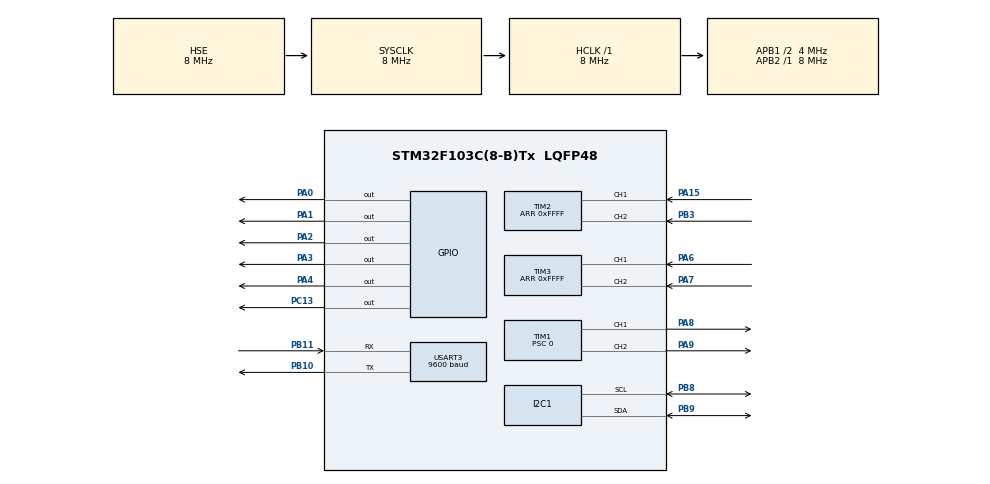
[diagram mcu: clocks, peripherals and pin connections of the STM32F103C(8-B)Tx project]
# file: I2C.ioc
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I2C1.I2C_Mode=I2C_Standard
Mcu.Family=STM32F1
Mcu.Name=STM32F103C(8-B)Tx
Mcu.Package=LQFP48
NVIC.I2C1_ER_IRQn=true\:0\:0\:true\:false\:true\:true\:true
NVIC.I2C1_EV_IRQn=true\:0\:0\:true\:false\:true\:true\:true
NVIC.PriorityGroup=NVIC_PRIORITYGROUP_4
NVIC.TIM2_IRQn=true\:0\:0\:true\:false\:true\:true\:true
NVIC.TIM3_IRQn=true\:0\:0\:true\:false\:true\:true\:true
NVIC.TIM4_IRQn=true\:0\:0\:true\:false\:true\:true\:true
NVIC.USART3_IRQn=true\:0\:0\:false\:false\:true\:true\:true
PA0-WKUP.GPIO_PuPd=GPIO_NOPULL
PA0-WKUP.GPIO_Speed=GPIO_SPEED_FREQ_LOW
PA0-WKUP.PinState=GPIO_PIN_RESET
PA0-WKUP.Signal=GPIO_Output
PA1.GPIO_PuPd=GPIO_NOPULL
PA1.GPIO_Speed=GPIO_SPEED_FREQ_LOW
PA1.PinState=GPIO_PIN_RESET
PA1.Signal=GPIO_Output
PA13.Mode=Serial_Wire
PA13.Signal=SYS_JTMS-SWDIO
PA14.Mode=Serial_Wire
PA14.Signal=SYS_JTCK-SWCLK
PA15.GPIO_PuPd=GPIO_PULLUP
PA15.Signal=S_TIM2_CH1_ETR
PA2.GPIO_PuPd=GPIO_NOPULL
PA2.GPIO_Speed=GPIO_SPEED_FREQ_LOW
PA2.PinState=GPIO_PIN_RESET
PA2.Signal=GPIO_Output
PA3.GPIO_PuPd=GPIO_NOPULL
PA3.GPIO_Speed=GPIO_SPEED_FREQ_LOW
PA3.PinState=GPIO_PIN_RESET
PA3.Signal=GPIO_Output
PA4.Signal=GPIO_Output
PA6.GPIO_PuPd=GPIO_PULLUP
PA6.Signal=S_TIM3_CH1
PA7.GPIO_PuPd=GPIO_PULLUP
PA7.Signal=S_TIM3_CH2
PA8.GPIO_Speed=GPIO_SPEED_FREQ_LOW
PA8.Signal=S_TIM1_CH1
PA9.GPIO_Speed=GPIO_SPEED_FREQ_LOW
PA9.Signal=S_TIM1_CH2
PB10.Mode=Asynchronous
PB10.Signal=USART3_TX
PB11.Mode=Asynchronous
PB11.Signal=USART3_RX
PB3.GPIO_PuPd=GPIO_PULLUP
PB3.Signal=S_TIM2_CH2
PB8.Mode=I2C
PB8.Signal=I2C1_SCL
PB9.Mode=I2C
PB9.Signal=I2C1_SDA
PC13-TAMPER-RTC.Signal=GPIO_Output
PD0-OSC_IN.Mode=HSE-External-Oscillator
PD0-OSC_IN.Signal=RCC_OSC_IN
PD1-OSC_OUT.Mode=HSE-External-Oscillator
PD1-OSC_OUT.Signal=RCC_OSC_OUT
ProjectManager.HeapSize=0x200
ProjectManager.StackSize=0x400
ProjectManager.TargetToolchain=MDK-ARM V5
RCC.AHBFreq_Value=8000000
RCC.APB1CLKDivider=RCC_HCLK_DIV2
RCC.APB1Freq_Value=4000000
RCC.APB1TimFreq_Value=8000000
RCC.APB2Freq_Value=8000000
RCC.APB2TimFreq_Value=8000000
RCC.HCLKFreq_Value=8000000
RCC.PLLMUL=RCC_PLL_MUL9
RCC.PLLSourceVirtual=RCC_PLLSOURCE_HSE
RCC.SYSCLKFreq_VALUE=8000000
RCC.SYSCLKSource=RCC_SYSCLKSOURCE_HSE
RCC.USBFreq_Value=72000000
SH.S_TIM1_CH1.0=TIM1_CH1,PWM Generation1 CH1
SH.S_TIM1_CH2.0=TIM1_CH2,PWM Generation2 CH2
SH.S_TIM2_CH1_ETR.0=TIM2_CH1,Encoder_Interface
SH.S_TIM2_CH2.0=TIM2_CH2,Encoder_Interface
SH.S_TIM3_CH1.0=TIM3_CH1,Encoder_Interface
SH.S_TIM3_CH2.0=TIM3_CH2,Encoder_Interface
TIM1.Channel-PWM\ Generation1\ CH1=TIM_CHANNEL_1
TIM1.Channel-PWM\ Generation2\ CH2=TIM_CHANNEL_2
TIM1.OCMode_PWM-PWM\ Generation2\ CH2=TIM_OCMODE_PWM1
TIM1.Period=255
TIM1.Prescaler=0
TIM1.Pulse-PWM\ Generation1\ CH1=0
TIM2.EncoderMode=TIM_ENCODERMODE_TI12
TIM2.Period=0xFFFF
TIM3.EncoderMode=TIM_ENCODERMODE_TI12
TIM3.Period=0xFFFF
TIM4.Period=10
TIM4.Prescaler=7999
USART3.BaudRate=9600
USART3.VirtualMode=VM_ASYNC
VP_TIM1_VS_ClockSourceINT.Mode=Internal
VP_TIM4_VS_ClockSourceINT.Mode=Internal
board=custom

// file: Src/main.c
/* USER CODE BEGIN Header */
/**
  ******************************************************************************
  * @file           : main.c
  * @brief          : Main program body
  ******************************************************************************
  * @attention
  *
  * <h2><center>&copy; Copyright (c) 2019 STMicroelectronics.
  * All rights reserved.</center></h2>
  *
  * This software component is licensed by ST under BSD 3-Clause license,
  * the "License"; You may not use this file except in compliance with the
  * License. You may obtain a copy of the License at:
  *                        opensource.org/licenses/BSD-3-Clause
  *
  ******************************************************************************
  */
/* USER CODE END Header */

#include "main.h"

/* USER CODE BEGIN Includes */
#include "stdio.h"
#include "math.h"
#include "sd_hal_mpu6050.h"
/* USER CODE END Includes */

/* USER CODE BEGIN PTD */
#define 	dt1  0.01
/* USER CODE END PTD */

/* USER CODE BEGIN PM */
void bias(void);
/* USER CODE END PM */

I2C_HandleTypeDef hi2c1;

TIM_HandleTypeDef htim1;
TIM_HandleTypeDef htim2;
TIM_HandleTypeDef htim3;
TIM_HandleTypeDef htim4;

UART_HandleTypeDef huart3;

/* USER CODE BEGIN PV */
/* Private variables ---------------------------------------------------------*/

uint16_t gx[20];
SD_MPU6050 mpu1;
float sum_gForcex = 0;
float sum_gForcey = 0;
float sum_gForcez = 0;
float gForcex = 0;
float gForcey = 0;
float gForcez = 0;
float ax_off = 0.0306123048;
float ay_off = -0.00247998047;
float az_off = 1.00272071;
float gx_off = 376.86;
float gy_off = 93.00;
float gz_off = -92.64;
float rotx = 0;
float roty = 0;
float rotz = 0;
float bias_rotx = 0;
float bias_roty = 0;
float bias_rotz = 0;
float angle_roll = 0;
float angle_pitch = 0;
float P_part1 ,I_part1,D_part1,Error,pre_Error,pre_pre_Error,Out1,pre_Out1;
float  P_part2 ,I_part2,D_part2,Out2,pre_Out2;
float  Kp1 = 34; //28 //30 //26
float  Ki1 = 440;//230//350//390
float  Kd1 = 1.182;//1.14//1.18//1.18
float maxPID = 255;
char receive_buff[30];
float setpoint = -2;
float vel2;
float vel;
float pitch;
float roll;
float g_x;
float g_y;
float g_z;
float a_x;
float a_y;
float a_z;
float left_PWM;
float right_PWM;
float vel_left;
float vel_right;
volatile short encoder_out_left =0,encoder_out_pre =0;
volatile short encoder_out_right=0;
/* USER CODE END PV */

void SystemClock_Config(void);
static void MX_GPIO_Init(void);
static void MX_I2C1_Init(void);
static void MX_TIM4_Init(void);
static void MX_TIM1_Init(void);
static void MX_USART3_UART_Init(void);
static void MX_TIM2_Init(void);
static void MX_TIM3_Init(void);

/* USER CODE BEGIN 0 */
void move(float motor,float dir)
	{
		 if(motor == 0)
      {
					if(dir == 0)
						{
								HAL_GPIO_WritePin(GPIOA,GPIO_PIN_0,GPIO_PIN_RESET);
								HAL_GPIO_WritePin(GPIOA,GPIO_PIN_1,GPIO_PIN_SET);
						}
					else
						{
								HAL_GPIO_WritePin(GPIOA,GPIO_PIN_0,GPIO_PIN_SET);
								HAL_GPIO_WritePin(GPIOA,GPIO_PIN_1,GPIO_PIN_RESET);
						}
			}
		 else if (motor == 1)
      {
					if(dir == 0)
						{
								HAL_GPIO_WritePin(GPIOA,GPIO_PIN_4,GPIO_PIN_RESET);
								HAL_GPIO_WritePin(GPIOA,GPIO_PIN_3,GPIO_PIN_SET);
						}
					else
						{
								HAL_GPIO_WritePin(GPIOA,GPIO_PIN_4,GPIO_PIN_SET);
								HAL_GPIO_WritePin(GPIOA,GPIO_PIN_3,GPIO_PIN_RESET);
						}
			 }
			else if (motor == 2)
				{
							HAL_GPIO_WritePin(GPIOA,GPIO_PIN_0,GPIO_PIN_RESET);
							HAL_GPIO_WritePin(GPIOA,GPIO_PIN_1,GPIO_PIN_RESET);
							HAL_GPIO_WritePin(GPIOA,GPIO_PIN_4,GPIO_PIN_RESET);
							HAL_GPIO_WritePin(GPIOA,GPIO_PIN_3,GPIO_PIN_RESET);
							__HAL_TIM_SET_COMPARE(&htim1,TIM_CHANNEL_1,0);
							__HAL_TIM_SET_COMPARE(&htim1,TIM_CHANNEL_2,0);
				}
	}
void PID(float setpoint,float angle_current)
	{

			if (angle_roll >-30 && angle_roll <30)
				{
//					if (receive_buff[0] == 'F')
//						{
//								setpoint = -3.5;
//								Error = setpoint - angle_current;
//								P_part1 = Kp1*(Error - pre_Error);
//								I_part1 = 0.5*Ki1*dt1*(Error + pre_Error);
//								D_part1= Kd1/dt1*( Error - 2*pre_Error+ pre_pre_Error);
//								Out1 = pre_Out1 + P_part1 + I_part1 + D_part1 ;
//								if (Out1 > maxPID) Out1 = maxPID;
//								else if (Out1 <-maxPID) Out1 = -maxPID;
//						if (Out1 >0)
//						{
//							move(0,1);
//							move(1,1);
//							vel= Out1;
//							if (vel >10 && vel <100 ) vel = 100;
//							vel_left = vel;
//							vel_right = vel;
//							__HAL_TIM_SET_COMPARE(&htim1,TIM_CHANNEL_1,vel_left);
//							__HAL_TIM_SET_COMPARE(&htim1,TIM_CHANNEL_2,vel_right);
//						}
//					else if (Out1<0)
//						{
//							move(0,0);
//							move(1,0);
//							vel= Out1;
//							if (vel >-70 && vel <-100 ) vel = - 100;
//							vel_left = vel;
//							vel_right = vel;
//							__HAL_TIM_SET_COMPARE(&htim1,TIM_CHANNEL_1,(vel_left*-1));
//							__HAL_TIM_SET_COMPARE(&htim1,TIM_CHANNEL_2,(vel_right*-1));
//						}
//					}
//				else if (receive_buff[0] =='B')
//					{
//							 setpoint = 2.5;
//								Error = setpoint - angle_current;
//								P_part1 = Kp1*(Error - pre_Error);
//								I_part1 = 0.5*Ki1*dt1*(Error + pre_Error);
//								D_part1= Kd1/dt1*( Error - 2*pre_Error+ pre_pre_Error);
//								Out1 = pre_Out1 + P_part1 + I_part1 + D_part1 ;
//								if (Out1 > maxPID) Out1 = maxPID;
//								else if (Out1 <-maxPID) Out1 = -maxPID;
//								if (Out1 >0)
//									{
//										move(0,1);
//										move(1,1);
//										vel= Out1;
//										if (vel >10 && vel <100 ) vel = 100;
//										vel_left = vel;
//										vel_right = vel;
//										__HAL_TIM_SET_COMPARE(&htim1,TIM_CHANNEL_1,vel_left);
//										__HAL_TIM_SET_COMPARE(&htim1,TIM_CHANNEL_2,vel_right);
//									}
//								else if (Out1<0)
//									{
//										move(0,0);
//										move(1,0);
//										vel= Out1;
//										if (vel >-70 && vel <-100 ) vel = - 100;
//										vel_left = vel;
//										vel_right = vel;
//										__HAL_TIM_SET_COMPARE(&htim1,TIM_CHANNEL_1,(vel_left*-1));
//										__HAL_TIM_SET_COMPARE(&htim1,TIM_CHANNEL_2,(vel_right*-1));
//									}
//						}
//				else if (receive_buff[0] == 'L')
//					{
//								setpoint = 0.5;
//								Error = setpoint - angle_current;
//								P_part1 = Kp1*(Error - pre_Error);
//								I_part1 = 0.5*Ki1*dt1*(Error + pre_Error);
//								D_part1= Kd1/dt1*( Error - 2*pre_Error+ pre_pre_Error);
//								Out1 = pre_Out1 + P_part1 + I_part1 + D_part1 ;
//								if (Out1 > maxPID) Out1 = maxPID;
//								else if (Out1 <-maxPID) Out1 = -maxPID;
//								if (Out1 >0)
//									{
//										HAL_GPIO_WritePin(GPIOA,GPIO_PIN_0,GPIO_PIN_SET);
//										HAL_GPIO_WritePin(GPIOA,GPIO_PIN_1,GPIO_PIN_RESET);
//										HAL_GPIO_WritePin(GPIOA,GPIO_PIN_4,GPIO_PIN_RESET);
//										HAL_GPIO_WritePin(GPIOA,GPIO_PIN_3,GPIO_PIN_SET);
//										vel= Out1;
//										if (vel >10 && vel <100 ) vel =100;
//										vel_left = vel;
//										vel_right = vel;
//										__HAL_TIM_SET_COMPARE(&htim1,TIM_CHANNEL_1,120);//vel_left-turnspeed
//										__HAL_TIM_SET_COMPARE(&htim1,TIM_CHANNEL_2,120);//vel_right+turnspeed
//									}
//								else if (Out1<0)
//									{
//										HAL_GPIO_WritePin(GPIOA,GPIO_PIN_0,GPIO_PIN_SET);
//										HAL_GPIO_WritePin(GPIOA,GPIO_PIN_1,GPIO_PIN_RESET);
//										HAL_GPIO_WritePin(GPIOA,GPIO_PIN_4,GPIO_PIN_RESET);
//										HAL_GPIO_WritePin(GPIOA,GPIO_PIN_3,GPIO_PIN_SET);
//										vel= Out1;
//										if (vel >-100 && vel <-10 ) vel = - 100;
//										vel_left = vel;
//										vel_right = vel;
//										__HAL_TIM_SET_COMPARE(&htim1,TIM_CHANNEL_1,120);//(vel_left*-1)-turnspeed
//										__HAL_TIM_SET_COMPARE(&htim1,TIM_CHANNEL_2,120);//(vel_right*-1)+turnspeed
//									}
//					}
//				else if (receive_buff[0] == 'R')
//					{
//								setpoint = 0.5;
//								Error = setpoint - angle_current;
//								P_part1 = Kp1*(Error - pre_Error);
//								I_part1 = 0.5*Ki1*dt1*(Error + pre_Error);
//								D_part1= Kd1/dt1*( Error - 2*pre_Error+ pre_pre_Error);
//								Out1 = pre_Out1 + P_part1 + I_part1 + D_part1 ;
//								if (Out1 > maxPID) Out1 = maxPID;
//								else if (Out1 <-maxPID) Out1 = -maxPID;
//								if (Out1 >0)
//									{
//										HAL_GPIO_WritePin(GPIOA,GPIO_PIN_0,GPIO_PIN_RESET);
//										HAL_GPIO_WritePin(GPIOA,GPIO_PIN_1,GPIO_PIN_SET);
//										HAL_GPIO_WritePin(GPIOA,GPIO_PIN_4,GPIO_PIN_SET);
//										HAL_GPIO_WritePin(GPIOA,GPIO_PIN_3,GPIO_PIN_RESET);
//										vel= Out1;
//										if (vel >10 && vel <100 ) vel = 100;
//										vel_left = vel;
//										vel_right = vel;
//										__HAL_TIM_SET_COMPARE(&htim1,TIM_CHANNEL_1,120);
//										__HAL_TIM_SET_COMPARE(&htim1,TIM_CHANNEL_2,120);
//									}
//								else if (Out1<0)
//									{
//										HAL_GPIO_WritePin(GPIOA,GPIO_PIN_0,GPIO_PIN_RESET);
//										HAL_GPIO_WritePin(GPIOA,GPIO_PIN_1,GPIO_PIN_SET);
//										HAL_GPIO_WritePin(GPIOA,GPIO_PIN_4,GPIO_PIN_SET);
//										HAL_GPIO_WritePin(GPIOA,GPIO_PIN_3,GPIO_PIN_RESET);
//										vel= Out1;
//										if (vel >-100 && vel <-10 ) vel = - 100;
//										vel_left = vel;
//										vel_right = vel;
//										__HAL_TIM_SET_COMPARE(&htim1,TIM_CHANNEL_1,120);
//										__HAL_TIM_SET_COMPARE(&htim1,TIM_CHANNEL_2,120);
//									}
//					}
//				else
//					{
								setpoint = -2;
								Error = setpoint - angle_current;
								P_part1 = Kp1*(Error - pre_Error);
								I_part1 = 0.5*Ki1*dt1*(Error + pre_Error);
								D_part1= Kd1/dt1*( Error - 2*pre_Error+ pre_pre_Error);
								Out1 = pre_Out1 + P_part1 + I_part1 + D_part1 ;
								if (Out1 > maxPID) Out1 = maxPID;
								else if (Out1 <-maxPID) Out1 = -maxPID;
								if (Out1 == 0)
									{
										__HAL_TIM_SET_COMPARE(&htim1,TIM_CHANNEL_1,0);
										__HAL_TIM_SET_COMPARE(&htim1,TIM_CHANNEL_2,0);
									}
								if (Out1 >0)
									{
										move(0,1);
										move(1,1);
										vel= Out1;
									if (vel >153  ) vel = 153;
										vel_left = vel;
										vel_right = vel;
										__HAL_TIM_SET_COMPARE(&htim1,TIM_CHANNEL_1,vel_left);
										__HAL_TIM_SET_COMPARE(&htim1,TIM_CHANNEL_2,vel_right);
									}
								else if (Out1<0)
									{
										move(0,0);
										move(1,0);
										vel= Out1;
										if ( vel <-153 ) vel = -153;
										vel_left = vel;
										vel_right = vel;
										__HAL_TIM_SET_COMPARE(&htim1,TIM_CHANNEL_1,(vel_left*-1));
										__HAL_TIM_SET_COMPARE(&htim1,TIM_CHANNEL_2,(vel_right*-1));
									}
					}

//			}
		else move(2,0);
 		pre_pre_Error = pre_Error;
    pre_Error = Error;
    pre_Out1 = Out1;
		pre_Out2 = Out2;

	}
void HAL_TIM_PeriodElapsedCallback(TIM_HandleTypeDef *htim)
	{

		SD_MPU6050_Result result ;
		if (htim->Instance == TIM4 )
			{
		result = SD_MPU6050_Init(&hi2c1,&mpu1,SD_MPU6050_Device_0,SD_MPU6050_Accelerometer_2G,SD_MPU6050_Gyroscope_250s );
		SD_MPU6050_ReadAll(&hi2c1,&mpu1);
//	  SD_MPU6050_ReadGyroscope(&hi2c1,&mpu1);
	  int16_t g_x = mpu1.Gyroscope_X;
	  int16_t g_y = mpu1.Gyroscope_Y;
	  int16_t g_z = mpu1.Gyroscope_Z;
    /* USER CODE BEGIN 3 */
//		SD_MPU6050_ReadAccelerometer(&hi2c1,&mpu1);
	  int16_t a_x = mpu1.Accelerometer_X;
	  int16_t a_y = mpu1.Accelerometer_Y;
	  int16_t a_z = mpu1.Accelerometer_Z;

		rotx = (float)(g_x - gx_off)/131;
		roty = (float)(g_y - gy_off)/131;
		rotz = (float)(g_z - gz_off)/131;

		gForcex = (float)(a_x - ax_off)/16384 ;
		gForcey = (float)(a_y - ay_off)/16384;
		gForcez = (float)(a_z - az_off)/16384 ;

		 roll  = atan2((double)gForcey,(double)gForcez)*57.29577951;
		 pitch = -atan2((double)gForcex,(double)sqrt((double)gForcey*(double)gForcey+(double)gForcez*(double)gForcez))*57.29577951;
	 	 angle_roll  = 0.988*(angle_roll  + rotx*dt1) +0.012*roll;
		 angle_pitch = 0.988*(angle_pitch + roty*dt1) +0.012*pitch;
		 PID(setpoint,angle_roll);

			}
	}

//void HAL_TIM_IC_CaptureCallback(TIM_HandleTypeDef *htim)
//	{
//		if (htim->Instance == TIM2)
//			{
//						encoder_out_left  = __HAL_TIM_GET_COUNTER(&htim2);
//			}
//	  if (htim->Instance == TIM3)
//			{
//						encoder_out_right =	__HAL_TIM_GET_COUNTER(&htim3);
//			}
//	}

/* USER CODE END 0 */

int main(void)
{
  /* USER CODE BEGIN 1 */
		SD_MPU6050_Result result ;

		char* mpu_ok = {"MPU WORK FINE\n"};
		char* mpu_not = {"MPU NOT WORKING\n"};
  /* USER CODE END 1 */

  /* MCU Configuration--------------------------------------------------------*/

  /* Reset of all peripherals, Initializes the Flash interface and the Systick. */

		HAL_Init();

  /* Configure the system clock */
  SystemClock_Config();

  /* Initialize all configured peripherals */
  MX_GPIO_Init();
  MX_I2C1_Init();
  MX_TIM4_Init();
  MX_TIM1_Init();
	MX_TIM2_Init();
	MX_TIM3_Init();
  MX_USART3_UART_Init();
	HAL_TIM_Base_Start_IT(&htim4);

	HAL_TIM_PWM_Start(&htim1,TIM_CHANNEL_1);
	HAL_TIM_PWM_Start(&htim1,TIM_CHANNEL_2);
//	HAL_TIM_Encoder_Start_IT(&htim2,TIM_CHANNEL_1|TIM_CHANNEL_2);
//	HAL_TIM_Encoder_Start_IT(&htim3,TIM_CHANNEL_1|TIM_CHANNEL_2);

  /* Infinite loop */
  /* USER CODE BEGIN WHILE */
  while(1)
  {
//		encoder_out_left  = __HAL_TIM_GET_COUNTER(&htim2);
//		encoder_out_right = __HAL_TIM_GET_COUNTER(&htim3);
//
//			}
		/* USER CODE END WHILE */

  }
  /* USER CODE END 3 */
}
_ARMABI int fputc(int c, FILE * stream)/////////////////////////////////////////
	{
		HAL_UART_Transmit(&huart3,(uint8_t*)&c,1,100);
		return 0;
	}
void SystemClock_Config(void)
{
  RCC_OscInitTypeDef RCC_OscInitStruct = {0};
  RCC_ClkInitTypeDef RCC_ClkInitStruct = {0};

  /** Initializes the CPU, AHB and APB busses clocks
  */
  RCC_OscInitStruct.OscillatorType = RCC_OSCILLATORTYPE_HSE;
  RCC_OscInitStruct.HSEState = RCC_HSE_ON;
  RCC_OscInitStruct.PLL.PLLState = RCC_PLL_NONE;
  if (HAL_RCC_OscConfig(&RCC_OscInitStruct) != HAL_OK)
  {
    Error_Handler();
  }
  /** Initializes the CPU, AHB and APB busses clocks
  */
  RCC_ClkInitStruct.ClockType = RCC_CLOCKTYPE_HCLK|RCC_CLOCKTYPE_SYSCLK
                              |RCC_CLOCKTYPE_PCLK1|RCC_CLOCKTYPE_PCLK2;
  RCC_ClkInitStruct.SYSCLKSource = RCC_SYSCLKSOURCE_HSE;
  RCC_ClkInitStruct.AHBCLKDivider = RCC_SYSCLK_DIV1;
  RCC_ClkInitStruct.APB1CLKDivider = RCC_HCLK_DIV2;
  RCC_ClkInitStruct.APB2CLKDivider = RCC_HCLK_DIV1;

  if (HAL_RCC_ClockConfig(&RCC_ClkInitStruct, FLASH_LATENCY_0) != HAL_OK)
  {
    Error_Handler();
  }
}

static void MX_I2C1_Init(void)
{

  hi2c1.Instance = I2C1;
  hi2c1.Init.ClockSpeed = 100000;
  hi2c1.Init.DutyCycle = I2C_DUTYCYCLE_2;
  hi2c1.Init.OwnAddress1 = 0;
  hi2c1.Init.AddressingMode = I2C_ADDRESSINGMODE_7BIT;
  hi2c1.Init.DualAddressMode = I2C_DUALADDRESS_DISABLE;
  hi2c1.Init.OwnAddress2 = 0;
  hi2c1.Init.GeneralCallMode = I2C_GENERALCALL_DISABLE;
  hi2c1.Init.NoStretchMode = I2C_NOSTRETCH_DISABLE;
  if (HAL_I2C_Init(&hi2c1) != HAL_OK)
  {
    Error_Handler();
  }

}

static void MX_TIM1_Init(void)
{

  TIM_ClockConfigTypeDef sClockSourceConfig = {0};
  TIM_MasterConfigTypeDef sMasterConfig = {0};
  TIM_OC_InitTypeDef sConfigOC = {0};
  TIM_BreakDeadTimeConfigTypeDef sBreakDeadTimeConfig = {0};

  htim1.Instance = TIM1;
  htim1.Init.Prescaler = 0;
  htim1.Init.CounterMode = TIM_COUNTERMODE_UP;
  htim1.Init.Period = 255;
  htim1.Init.ClockDivision = TIM_CLOCKDIVISION_DIV1;
  htim1.Init.RepetitionCounter = 0;
  htim1.Init.AutoReloadPreload = TIM_AUTORELOAD_PRELOAD_DISABLE;
  if (HAL_TIM_Base_Init(&htim1) != HAL_OK)
  {
    Error_Handler();
  }
  sClockSourceConfig.ClockSource = TIM_CLOCKSOURCE_INTERNAL;
  if (HAL_TIM_ConfigClockSource(&htim1, &sClockSourceConfig) != HAL_OK)
  {
    Error_Handler();
  }
  if (HAL_TIM_PWM_Init(&htim1) != HAL_OK)
  {
    Error_Handler();
  }
  sMasterConfig.MasterOutputTrigger = TIM_TRGO_RESET;
  sMasterConfig.MasterSlaveMode = TIM_MASTERSLAVEMODE_DISABLE;
  if (HAL_TIMEx_MasterConfigSynchronization(&htim1, &sMasterConfig) != HAL_OK)
  {
    Error_Handler();
  }
  sConfigOC.OCMode = TIM_OCMODE_PWM1;
  sConfigOC.Pulse = 0;
  sConfigOC.OCPolarity = TIM_OCPOLARITY_HIGH;
  sConfigOC.OCNPolarity = TIM_OCNPOLARITY_HIGH;
  sConfigOC.OCFastMode = TIM_OCFAST_DISABLE;
  sConfigOC.OCIdleState = TIM_OCIDLESTATE_RESET;
  sConfigOC.OCNIdleState = TIM_OCNIDLESTATE_RESET;
  if (HAL_TIM_PWM_ConfigChannel(&htim1, &sConfigOC, TIM_CHANNEL_1) != HAL_OK)
  {
    Error_Handler();
  }
  if (HAL_TIM_PWM_ConfigChannel(&htim1, &sConfigOC, TIM_CHANNEL_2) != HAL_OK)
  {
    Error_Handler();
  }
  sBreakDeadTimeConfig.OffStateRunMode = TIM_OSSR_DISABLE;
  sBreakDeadTimeConfig.OffStateIDLEMode = TIM_OSSI_DISABLE;
  sBreakDeadTimeConfig.LockLevel = TIM_LOCKLEVEL_OFF;
  sBreakDeadTimeConfig.DeadTime = 0;
  sBreakDeadTimeConfig.BreakState = TIM_BREAK_DISABLE;
  sBreakDeadTimeConfig.BreakPolarity = TIM_BREAKPOLARITY_HIGH;
  sBreakDeadTimeConfig.AutomaticOutput = TIM_AUTOMATICOUTPUT_DISABLE;
  if (HAL_TIMEx_ConfigBreakDeadTime(&htim1, &sBreakDeadTimeConfig) != HAL_OK)
  {
    Error_Handler();
  }
  HAL_TIM_MspPostInit(&htim1);

}

static void MX_TIM2_Init(void)
{

  TIM_Encoder_InitTypeDef sConfig = {0};
  TIM_MasterConfigTypeDef sMasterConfig = {0};

  htim2.Instance = TIM2;
  htim2.Init.Prescaler = 0;
  htim2.Init.CounterMode = TIM_COUNTERMODE_UP;
  htim2.Init.Period = 0xFFFF;
  htim2.Init.ClockDivision = TIM_CLOCKDIVISION_DIV1;
  htim2.Init.AutoReloadPreload = TIM_AUTORELOAD_PRELOAD_DISABLE;
  sConfig.EncoderMode = TIM_ENCODERMODE_TI12;
  sConfig.IC1Polarity = TIM_ICPOLARITY_RISING;
  sConfig.IC1Selection = TIM_ICSELECTION_DIRECTTI;
  sConfig.IC1Prescaler = TIM_ICPSC_DIV1;
  sConfig.IC1Filter = 0;
  sConfig.IC2Polarity = TIM_ICPOLARITY_RISING;
  sConfig.IC2Selection = TIM_ICSELECTION_DIRECTTI;
  sConfig.IC2Prescaler = TIM_ICPSC_DIV1;
  sConfig.IC2Filter = 0;
  if (HAL_TIM_Encoder_Init(&htim2, &sConfig) != HAL_OK)
  {
    Error_Handler();
  }
  sMasterConfig.MasterOutputTrigger = TIM_TRGO_RESET;
  sMasterConfig.MasterSlaveMode = TIM_MASTERSLAVEMODE_DISABLE;
  if (HAL_TIMEx_MasterConfigSynchronization(&htim2, &sMasterConfig) != HAL_OK)
  {
    Error_Handler();
  }

}

static void MX_TIM3_Init(void)
{

  TIM_Encoder_InitTypeDef sConfig = {0};
  TIM_MasterConfigTypeDef sMasterConfig = {0};

  htim3.Instance = TIM3;
  htim3.Init.Prescaler = 0;
  htim3.Init.CounterMode = TIM_COUNTERMODE_UP;
  htim3.Init.Period = 0xFFFF;
  htim3.Init.ClockDivision = TIM_CLOCKDIVISION_DIV1;
  htim3.Init.AutoReloadPreload = TIM_AUTORELOAD_PRELOAD_DISABLE;
  sConfig.EncoderMode = TIM_ENCODERMODE_TI12;
  sConfig.IC1Polarity = TIM_ICPOLARITY_RISING;
  sConfig.IC1Selection = TIM_ICSELECTION_DIRECTTI;
  sConfig.IC1Prescaler = TIM_ICPSC_DIV1;
  sConfig.IC1Filter = 0;
  sConfig.IC2Polarity = TIM_ICPOLARITY_RISING;
  sConfig.IC2Selection = TIM_ICSELECTION_DIRECTTI;
  sConfig.IC2Prescaler = TIM_ICPSC_DIV1;
  sConfig.IC2Filter = 0;
  if (HAL_TIM_Encoder_Init(&htim3, &sConfig) != HAL_OK)
  {
    Error_Handler();
  }
  sMasterConfig.MasterOutputTrigger = TIM_TRGO_RESET;
  sMasterConfig.MasterSlaveMode = TIM_MASTERSLAVEMODE_DISABLE;
  if (HAL_TIMEx_MasterConfigSynchronization(&htim3, &sMasterConfig) != HAL_OK)
  {
    Error_Handler();
  }

}

static void MX_TIM4_Init(void)
{

  TIM_ClockConfigTypeDef sClockSourceConfig = {0};
  TIM_MasterConfigTypeDef sMasterConfig = {0};

  htim4.Instance = TIM4;
  htim4.Init.Prescaler = 7999;
  htim4.Init.CounterMode = TIM_COUNTERMODE_UP;
  htim4.Init.Period = 10;
  htim4.Init.ClockDivision = TIM_CLOCKDIVISION_DIV1;
  htim4.Init.AutoReloadPreload = TIM_AUTORELOAD_PRELOAD_DISABLE;
  if (HAL_TIM_Base_Init(&htim4) != HAL_OK)
  {
    Error_Handler();
  }
  sClockSourceConfig.ClockSource = TIM_CLOCKSOURCE_INTERNAL;
  if (HAL_TIM_ConfigClockSource(&htim4, &sClockSourceConfig) != HAL_OK)
  {
    Error_Handler();
  }
  sMasterConfig.MasterOutputTrigger = TIM_TRGO_RESET;
  sMasterConfig.MasterSlaveMode = TIM_MASTERSLAVEMODE_DISABLE;
  if (HAL_TIMEx_MasterConfigSynchronization(&htim4, &sMasterConfig) != HAL_OK)
  {
    Error_Handler();
  }

}

static void MX_USART3_UART_Init(void)
{

  huart3.Instance = USART3;
  huart3.Init.BaudRate = 9600;
  huart3.Init.WordLength = UART_WORDLENGTH_8B;
  huart3.Init.StopBits = UART_STOPBITS_1;
  huart3.Init.Parity = UART_PARITY_NONE;
  huart3.Init.Mode = UART_MODE_TX_RX;
  huart3.Init.HwFlowCtl = UART_HWCONTROL_NONE;
  huart3.Init.OverSampling = UART_OVERSAMPLING_16;
  if (HAL_UART_Init(&huart3) != HAL_OK)
  {
    Error_Handler();
  }

}

static void MX_GPIO_Init(void)
{
  GPIO_InitTypeDef GPIO_InitStruct = {0};

  /* GPIO Ports Clock Enable */
  __HAL_RCC_GPIOC_CLK_ENABLE();
  __HAL_RCC_GPIOD_CLK_ENABLE();
  __HAL_RCC_GPIOA_CLK_ENABLE();
  __HAL_RCC_GPIOB_CLK_ENABLE();

  /*Configure GPIO pin Output Level */
  HAL_GPIO_WritePin(GPIOC, GPIO_PIN_13, GPIO_PIN_RESET);

  /*Configure GPIO pin Output Level */
  HAL_GPIO_WritePin(GPIOA, GPIO_PIN_0|GPIO_PIN_1|GPIO_PIN_2|GPIO_PIN_3
                          |GPIO_PIN_4, GPIO_PIN_RESET);

  /*Configure GPIO pin : PC13 */
  GPIO_InitStruct.Pin = GPIO_PIN_13;
  GPIO_InitStruct.Mode = GPIO_MODE_OUTPUT_PP;
  GPIO_InitStruct.Pull = GPIO_NOPULL;
  GPIO_InitStruct.Speed = GPIO_SPEED_FREQ_LOW;
  HAL_GPIO_Init(GPIOC, &GPIO_InitStruct);

  /*Configure GPIO pins : PA0 PA1 PA2 PA3
                           PA4 */
  GPIO_InitStruct.Pin = GPIO_PIN_0|GPIO_PIN_1|GPIO_PIN_2|GPIO_PIN_3
                          |GPIO_PIN_4;
  GPIO_InitStruct.Mode = GPIO_MODE_OUTPUT_PP;
  GPIO_InitStruct.Pull = GPIO_NOPULL;
  GPIO_InitStruct.Speed = GPIO_SPEED_FREQ_LOW;
  HAL_GPIO_Init(GPIOA, &GPIO_InitStruct);

}

void Error_Handler(void)
{
}

/************************ (C) COPYRIGHT STMicroelectronics *****END OF FILE****/
